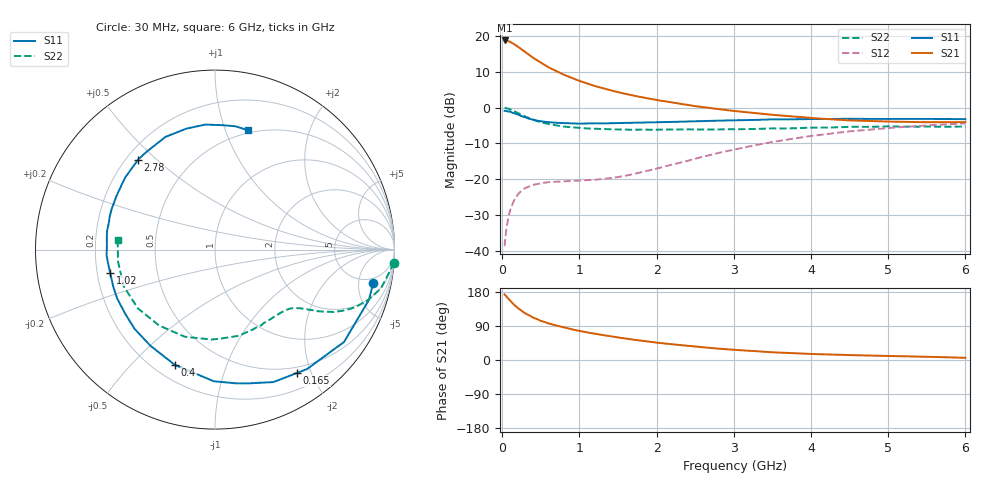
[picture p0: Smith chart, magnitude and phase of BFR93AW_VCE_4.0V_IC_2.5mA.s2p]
! Infineon Technologies  Discrete & RF Semiconductors
! BFR93AW
! VCE =  4.0 V,  IC =  2.5 mA
! Common Emitter S-Parameters:  Nov 2015
# GHz  S  MA  R  50
!  f  S11  S21  S12  S22
! GHz  MAG  ANG  MAG  ANG  MAG  ANG  MAG  ANG
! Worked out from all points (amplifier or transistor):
!   206 points, 30 MHz to 6 GHz, reference 50 ohm
!   highest |S21| = 18.7 dB at 30 MHz (marker M1)
!   |S21| within 3 dB of that: start of sweep to 282.6 MHz
!   unconditionally stable (mu >= 1): 1.166 GHz to 2.316 GHz
!   at 200 MHz: K = 0.19, MSG = 20.7 dB, |S12| = -24.3 dB
!   at 1.56 GHz: K = 1.14, MAG = 9.3 dB, |S12| = -19.1 dB
!   at 6 GHz: K = 0.98, MSG = 0.2 dB, |S12| = -4.4 dB
!   S11 on the Smith chart (normalised r, x): 30 MHz: 3.93, -7.69; 165 MHz: 0.42, -1.79; 400 MHz: 0.28, -0.67; 1.02 GHz: 0.25, -0.10; 2.78 GHz: 0.25, +0.43; 6 GHz: 0.47, +1.20
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0.03  0.9009 -11.8  8.628 173.0  0.0117 81.3  0.9981 -4.2
0.05  0.9023 -18.1  8.584 168.0  0.0192 79.4  0.9828 -6.8
0.1  0.8841 -35.6  8.304 156.8  0.0367 71.0  0.95 -13.1
0.15  0.8402 -52.4  7.72 146.1  0.0504 62.9  0.8979 -18.2
0.165  0.8252 -56.4  7.519 143.6  0.0536 60.7  0.8819 -19.4
0.2  0.8067 -66.2  7.111 137.3  0.0612 56.5  0.846 -22.3
0.26  0.7534 -81.3  6.364 128.1  0.071 49.7  0.7843 -25.8
0.3  0.7336 -90.5  5.921 122.7  0.0758 46.8  0.7486 -27.7
0.4  0.6805 -109.1  4.942 111.9  0.0837 40.8  0.6758 -30.6
0.5  0.6454 -123.8  4.223 103.3  0.0884 37.6  0.6233 -32.5
0.6  0.6292 -135.3  3.644 96.5  0.0913 35.9  0.589 -33.9
0.8  0.6092 -153.5  2.865 85.6  0.0938 35.9  0.543 -36.9
1.02  0.5981 -167.6  2.314 76.0  0.0961 39.2  0.5195 -40.4
1.04  0.5984 -168.8  2.276 75.2  0.0965 39.6  0.5176 -40.8
1.2  0.6048 -177.2  1.998 69.2  0.0985 43.1  0.5074 -44.0
1.5  0.6103 170.3  1.639 59.5  0.1077 51.7  0.4974 -50.8
2.02  0.6245 152.0  1.266 45.4  0.143 63.5  0.4922 -64.5
2.78  0.6583 130.9  0.96 30.3  0.2306 68.0  0.4971 -86.3
3.1  0.6668 122.9  0.876 25.6  0.2732 66.2  0.5003 -95.8
4.1  0.6925 101.5  0.704 15.4  0.4142 54.4  0.5249 -129.8
5.1  0.6942 85.6  0.636 10.2  0.529 39.3  0.5446 -160.9
6  0.6901 74.7  0.628 5.8  0.6029 26.7  0.545 174.2
